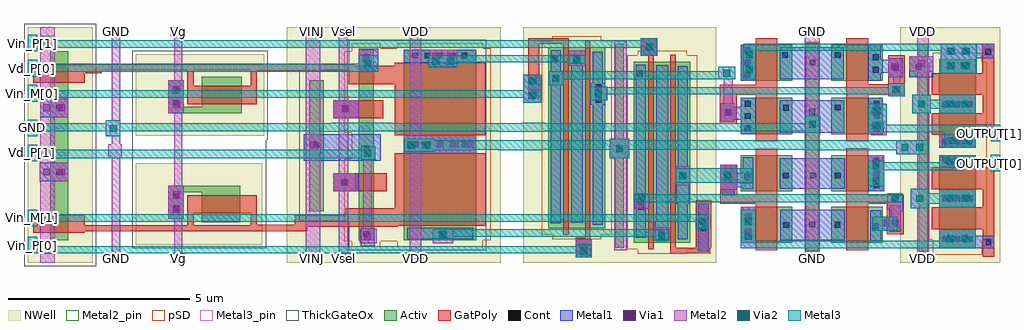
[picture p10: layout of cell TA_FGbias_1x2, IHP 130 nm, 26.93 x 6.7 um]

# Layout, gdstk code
import gdstk
lib = gdstk.Library(unit=1e-6, precision=1e-09)
def R(c, l, rs):  # rectangles x0, y0, x1, y1
    for r in rs: c.add(gdstk.rectangle(r[:2], r[2:], *l))
def A(c, l, x, y, w, h, nx, ny, dx, dy):  # array of equal rectangles
    R(c, l, [(x+i*dx, y+j*dy, x+i*dx+w, y+j*dy+h) for i in range(nx) for j in range(ny)])
Activ = (1, 0)
GatPoly = (5, 0)
Cont = (6, 0)
Metal1 = (8, 0)
Metal2 = (10, 0)
Metal2_pin = (10, 2)
pSD = (14, 0)
Via1 = (19, 0)
Via2 = (29, 0)
Metal3 = (30, 0)
Metal3_pin = (30, 2)
NWell = (31, 0)
ThickGateOx = (44, 0)

ta_fgbias_1x2 = lib.new_cell('TA_FGbias_1x2')
R(ta_fgbias_1x2, Activ, [(5.67,11.06,5.91,15.87), (2.55,11.08,2.91,16.82), (6.24,11.15,7.24,13.72), (-2.7,11.17,-2.47,13.64), (-2.2,11.3,-0.63,16.3), (0.76,11.3,2.18,12.3), (3.26,11.3,4.68,12.3), (-18.3,11.37,-17.8,16.58), (-9.79,11.37,-9.37,16.63), (-8.54,11.37,-6.54,16.63), (-4.55,11.7,-2.98,16.7), (-14.12,11.87,-13.06,12.69), (-15.04,11.97,-14.61,12.69), (-11.15,12.17,-10.75,15.78), (-15.04,12.69,-13.06,12.88), (0.76,12.72,2.18,13.72), (3.26,12.72,4.68,13.72), (-2.77,13.64,-2.41,14.17), (6.24,13.93,7.24,16.37), (-2.7,14.17,-2.47,16.79), (0.76,14.3,2.18,15.3), (3.26,14.3,4.68,15.3), (-15.04,14.87,-13.01,15.06), (-15.04,15.06,-14.61,15.78), (-14.12,15.06,-13.01,15.88), (0.76,15.77,2.18,16.77), (3.26,15.77,4.68,16.77), (5.4,15.87,5.91,16.45), (5.67,16.45,5.91,16.78)])
R(ta_fgbias_1x2, GatPoly, [(7.43,10.92,7.75,11.68), (-3.67,10.95,-3.39,10.96), (-3.79,10.96,-3.39,11.44), (-1.19,11.01,-0.08,11.17), (1.17,11.1,1.77,12.38), (3.67,11.1,4.27,12.38), (-1.79,11.12,-1.64,16.46), (-1.19,11.17,-1.04,16.49), (-0.48,11.17,-0.06,12.48), (-3.54,11.44,-3.39,16.88), (-4.14,11.52,-3.99,16.79), (4.78,11.54,5.26,12.38), (-18.77,11.58,-17.34,11.62), (-18.77,11.62,-11.2,11.75), (6.02,11.68,7.75,12.28), (-18.77,11.75,-8.69,11.77), (-18.77,11.77,-6.28,11.79), (-18.77,11.79,-17.34,12.08), (-14.51,11.79,-14.34,12.12), (-12.77,11.79,-6.28,11.8), (-12.77,11.8,-12.6,12.12), (-11.55,11.8,-6.28,12.06), (-10.14,12.06,-6.28,12.25), (-14.52,12.12,-12.6,12.62), (-8.79,12.25,-6.28,13.77), (7.43,12.28,7.75,12.78), (0.19,12.38,1.77,12.64), (3.67,12.38,5.26,12.63), (3.67,12.63,4.27,13.91), (0.19,12.64,0.66,13.46), (1.17,12.64,1.77,13.9), (-10.49,12.72,-9.01,13.22), (6.02,12.78,7.75,13.38), (1.17,14.1,1.77,15.38), (3.67,14.1,4.27,15.38), (-8.79,14.27,-6.29,15.68), (6.02,14.28,7.75,14.88), (0.18,14.58,0.64,15.38), (-10.49,14.74,-9.11,15.24), (7.43,14.88,7.75,15.38), (-14.52,15.13,-12.6,15.63), (-5.1,15.29,-4.8,16.79), (0.18,15.38,1.77,15.66), (3.67,15.38,5.28,15.67), (6.02,15.38,7.75,15.98), (-14.52,15.63,-14.33,16.06), (-12.77,15.63,-12.6,16.05), (1.17,15.66,1.77,16.95), (3.67,15.67,4.27,16.95), (4.82,15.67,5.28,16.47), (-10.06,15.68,-6.29,16.06), (-18.77,15.72,-17.34,15.98), (-18.77,15.98,-16.88,16.06), (7.42,15.98,7.75,16.8), (-12.77,16.05,-10.76,16.06), (-18.77,16.06,-6.29,16.18), (-18.77,16.18,-9.9,16.22), (-8.79,16.18,-6.29,16.27), (-17.38,16.22,-9.9,16.23), (-12.45,16.23,-10.76,16.24), (-2,16.46,-1.55,16.94), (-5.1,16.79,-3.99,16.94)])
A(ta_fgbias_1x2, Cont, 6.32, 11.325, 0.16, 0.16, 3, 2, 0.34, 1.125)
A(ta_fgbias_1x2, Cont, 4.42, 12.805, 0.16, 0.16, 1, 3, 0, 0.34)
A(ta_fgbias_1x2, Cont, 6.32, 13.49, 0.16, 0.16, 3, 2, 0.34, 0.52)
A(ta_fgbias_1x2, Cont, -8.295, 13.94, 0.16, 0.16, 5, 1, 0.34, 0)
A(ta_fgbias_1x2, Cont, 0.87, 14.38, 0.16, 0.16, 1, 3, 0, 0.34)
A(ta_fgbias_1x2, Cont, 4.42, 14.385, 0.16, 0.16, 1, 3, 0, 0.34)
A(ta_fgbias_1x2, Cont, 6.31, 15.045, 0.16, 0.16, 3, 1, 0.34, 0)
A(ta_fgbias_1x2, Cont, 0.87, 15.855, 0.16, 0.16, 1, 3, 0, 0.34)
A(ta_fgbias_1x2, Cont, -8.305, 16.39, 0.16, 0.16, 5, 1, 0.34, 0)
R(ta_fgbias_1x2, Cont, [(-3.67,11.11,-3.51,11.27), (7.51,11.24,7.67,11.4), (-9.66,11.455,-9.5,11.615), (-7.57,11.465,-7.41,11.625), (-1.515,11.5,-1.355,11.66), (0.87,11.515,1.03,11.675), (-0.35,11.615,-0.19,11.775), (4.41,11.68,4.57,11.84), (1.935,11.71,2.095,11.87), (3.345,11.72,3.505,11.88), (2.65,11.725,2.81,11.885), (4.94,11.76,5.1,11.92), (0.87,11.855,1.03,12.015), (-14.895,12.175,-14.735,12.335), (-2.07,12.215,-1.91,12.375), (-14.895,12.515,-14.735,12.675), (-10.255,12.895,-10.095,13.055), (0.335,13.03,0.495,13.19), (0.855,13.03,1.015,13.19), (1.915,13.08,2.075,13.24), (2.675,13.08,2.835,13.24), (3.355,13.08,3.515,13.24), (-18.13,13.175,-17.97,13.335), (-2.67,13.82,-2.51,13.98), (-9.645,13.825,-9.485,13.985), (-11.03,13.92,-10.87,14.08), (2.65,14.495,2.81,14.655), (0.335,14.825,0.495,14.985), (2.65,14.835,2.81,14.995), (-10.255,14.905,-10.095,15.065), (-18.13,14.945,-17.97,15.105), (1.925,14.945,2.085,15.105), (3.355,14.955,3.515,15.115), (-14.905,15.08,-14.745,15.24), (-3.245,15.17,-3.085,15.33), (-5.03,15.365,-4.87,15.525), (-14.905,15.42,-14.745,15.58), (-3.245,15.51,-3.085,15.67), (-5.03,15.705,-4.87,15.865), (-4.44,15.755,-4.28,15.915), (-2.105,15.885,-1.945,16.045), (4.405,16,4.565,16.16), (4.95,16.055,5.11,16.215), (5.58,16.08,5.74,16.24), (6.49,16.12,6.65,16.28), (6.83,16.12,6.99,16.28), (2.655,16.195,2.815,16.355), (-4.455,16.285,-4.295,16.445), (-3.845,16.315,-3.685,16.475), (4.405,16.34,4.565,16.5), (-9.655,16.35,-9.495,16.51), (1.895,16.405,2.055,16.565), (3.355,16.405,3.515,16.565), (7.505,16.49,7.665,16.65), (-1.855,16.625,-1.695,16.785)])
R(ta_fgbias_1x2, Metal1, [(-3.79,10.9,-3.35,11.4), (-0.42,11.07,-0.13,12.38), (6.24,11.15,7.75,11.49), (-9.73,11.21,-9.34,11.7), (0.76,11.3,1.17,12.3), (4.33,11.36,4.64,11.64), (1.84,11.37,3.63,12.21), (-1.61,11.38,-1.25,11.87), (-8.44,11.4,-6.62,11.72), (-0.98,11.4,-0.7,12.38), (-2.14,11.44,-1.86,16.21), (6.24,11.49,7.24,11.68), (4.85,11.61,5.17,11.64), (4.33,11.64,5.17,12.02), (-3.33,11.8,-3.05,15.11), (-4.49,11.84,-4.21,15.65), (-3.92,11.85,-3.6,16.19), (-1.57,11.87,-1.25,16.2), (-15.04,11.97,-14.61,12.88), (4.33,12.02,4.64,12.2), (4.85,12.02,5.17,12.34), (6.24,12.28,7.24,12.78), (-1.02,12.38,-0.66,12.89), (0.25,12.61,0.59,12.76), (-10.49,12.72,-9.79,13.22), (4.27,12.72,4.71,13.72), (0.19,12.76,0.63,12.84), (0.81,12.78,1.1,12.84), (1.83,12.79,3.63,13.63), (0.19,12.84,1.1,13.36), (-1.04,12.89,-0.63,13.42), (-18.58,13,-17.8,13.51), (0.19,13.36,0.63,13.46), (0.81,13.36,1.1,13.66), (6.24,13.38,7.24,13.72), (-0.98,13.42,-0.7,16.17), (-11.3,13.57,-9.18,14.29), (-2.86,13.64,-2.32,14.17), (-8.54,13.77,-6.54,14.27), (6.24,13.93,7.24,14.28), (0.76,14.3,1.17,14.69), (4.27,14.3,4.68,14.37), (1.83,14.34,3.61,15.24), (4.27,14.37,4.7,14.63), (4.27,14.63,4.68,15.3), (0.22,14.64,0.58,14.69), (0.22,14.69,1.17,15.05), (-10.49,14.74,-9.79,15.24), (-18.57,14.76,-17.8,15.27), (-15.04,14.87,-14.61,15.78), (6.24,14.88,7.24,15.38), (0.22,15.05,0.58,15.15), (0.76,15.05,1.17,15.3), (-3.39,15.11,-2.98,15.24), (-5.24,15.16,-4.75,15.94), (-3.39,15.24,-2.92,15.61), (-3.39,15.61,-2.98,15.71), (-4.54,15.65,-4.14,16.03), (-3.33,15.71,-3.05,16.57), (0.76,15.77,1.17,16.77), (4.27,15.77,4.62,15.99), (1.83,15.82,3.6,16.7), (4.82,15.87,5.22,15.99), (5.4,15.87,6.07,16.45), (6.28,15.98,7.27,16.4), (4.27,15.99,5.22,16.35), (-9.79,16.02,-9.25,16.66), (-4.49,16.03,-4.21,16.61), (-3.99,16.19,-3.54,16.6), (-7.7,16.26,-7.5,16.27), (-8.54,16.27,-6.54,16.63), (4.27,16.35,4.62,16.77), (4.82,16.35,5.22,16.4), (6.28,16.4,7.75,16.8), (-2,16.46,-1.55,16.94)])
R(ta_fgbias_1x2, Metal2, [(-18.57,10.75,-18.17,13), (-16.68,10.75,-16.28,11), (-14.97,10.75,-14.57,11), (-11.25,10.75,-10.85,13.77), (-10.41,10.75,-10.01,11), (-8.44,10.75,-8,11), (2.51,10.75,2.95,11), (5.56,10.75,6,11), (-3.79,10.9,-3.35,11.4), (-16.6,11,-16.37,13.69), (-14.88,11,-14.65,11.97), (-10.34,11,-10.08,12.72), (-8.37,11,-8.06,13.77), (2.52,11,2.94,14.28), (5.62,11,5.94,12.26), (-2.73,11.1,-2.39,13.64), (0.76,11.15,1.17,12.3), (6.24,11.15,7.24,11.68), (-9.76,11.29,-9.29,11.69), (-7.74,11.29,-7.17,11.67), (-1.62,11.36,-1.21,11.71), (4.39,11.64,5.08,11.71), (-7.68,11.67,-7.3,11.68), (-9.66,11.69,-9.42,13.59), (-0.48,11.69,-0.12,12.09), (-1.58,11.71,-1.25,11.73), (4.39,11.71,5.17,12.02), (-15.04,11.97,-14.61,12.88), (4.91,12.02,5.17,12.17), (4.91,12.17,5.23,12.23), (4.8,12.23,5.23,12.67), (-2.18,12.24,-1.77,12.65), (5.45,12.26,5.94,12.79), (6.24,12.28,7.24,12.78), (-10.49,12.72,-9.87,13.22), (0.19,12.76,0.66,12.95), (5.62,12.79,5.94,13.74), (4.27,12.86,4.71,13.72), (-14.88,12.88,-14.65,14.87), (-1.04,12.89,-0.63,13.42), (0.19,12.95,1.07,13.24), (-18.58,13,-17.8,13.51), (-10.34,13.22,-10.08,14.74), (0.19,13.24,0.66,13.46), (6.24,13.38,7.24,13.68), (-18.57,13.51,-18.17,14.76), (-9.72,13.59,-9.33,13.96), (-2.86,13.64,-2.32,14.17), (-16.69,13.69,-16.32,14.02), (5.05,13.74,5.95,14.13), (-11.25,13.77,-10.83,14.18), (-8.54,13.77,-6.54,14.27), (6.24,13.96,7.24,14.28), (-16.6,14.02,-16.37,14.25), (5.62,14.13,5.94,14.88), (-2.73,14.17,-2.39,16.87), (-11.25,14.18,-10.85,17.25), (-16.77,14.25,-16.36,14.68), (-8.37,14.27,-8.06,17), (4.34,14.27,4.78,14.3), (2.52,14.28,2.95,14.67), (4.27,14.3,4.78,15.14), (0.22,14.64,0.58,15.15), (2.52,14.67,2.94,17), (-16.6,14.68,-16.37,17), (-10.49,14.74,-9.79,15.24), (-18.57,14.76,-17.8,15.27), (-15.04,14.87,-14.61,15.78), (5.49,14.88,6,15.38), (6.24,14.88,7.24,15.38), (0.29,15.15,0.53,15.81), (-5.24,15.16,-4.75,15.94), (-10.34,15.24,-10.08,15.32), (-3.39,15.24,-2.94,15.61), (-18.57,15.27,-18.17,17.25), (-10.34,15.32,-10.09,17), (4.82,15.35,5.28,15.71), (5.62,15.38,5.94,15.81), (-4.54,15.65,-4.14,16.03), (4.96,15.71,5.16,15.92), (-14.88,15.78,-14.65,17), (0.13,15.81,0.61,16.16), (5.63,15.81,5.94,16.03), (0.82,15.82,1.17,16.8), (4.82,15.92,5.19,16.4), (6.28,15.98,7.27,16.8), (-9.79,16.02,-9.25,16.66), (5.4,16.03,6.07,16.45), (-7.85,16.15,-7.06,16.63), (-3.99,16.19,-3.54,16.6), (5.63,16.45,5.94,17), (-2,16.46,-1.55,16.94), (-16.68,17,-16.28,17.25), (-14.97,17,-14.57,17.25), (-10.41,17,-10.01,17.25), (-8.44,17,-8,17.25), (2.51,17,2.95,17.25), (5.56,17,6,17.25)])
R(ta_fgbias_1x2, Metal2_pin, [(-18.57,10.75,-18.17,11.01), (-16.68,10.75,-16.28,11), (-14.97,10.75,-14.57,11), (-11.25,10.75,-10.85,11), (-10.41,10.75,-10.01,11), (-8.44,10.75,-8,11), (2.51,10.75,2.95,11), (5.56,10.75,6,11), (-18.57,17,-18.17,17.25), (-16.68,17,-16.28,17.25), (-14.97,17,-14.57,17.25), (-11.25,17,-10.85,17.25), (-10.41,17,-10.01,17.25), (-8.44,17,-8,17.25), (2.51,17,2.95,17.25), (5.56,17,6,17.25)])
R(ta_fgbias_1x2, pSD, [(6.06,10.97,7.42,11.38), (-2.09,11,-0.74,11.12), (2.52,11.05,2.94,16.85), (-2.38,11.12,-0.45,16.48), (-9.97,11.19,-9.19,11.35), (-8.72,11.19,-6.36,11.35), (-10.19,11.35,-6.36,11.37), (-10.19,11.37,-6.14,13.62), (5.94,11.38,7.54,16.28), (-4.44,11.4,-3.09,11.52), (-4.73,11.52,-2.8,16.88), (-9.97,13.62,-6.14,14.34), (-10.19,14.34,-6.14,16.58), (6.06,16.28,7.42,16.55), (-2.09,16.48,-0.74,16.6), (-9.97,16.58,-6.14,16.67), (-9.97,16.67,-9.19,16.81), (-8.72,16.67,-6.36,16.81), (-4.44,16.88,-3.09,17)])
A(ta_fgbias_1x2, Via1, -8.45, 13.92, 0.19, 0.19, 5, 1, 0.41, 0)
R(ta_fgbias_1x2, Via1, [(-3.67,11.06,-3.48,11.25), (6.44,11.315,6.63,11.505), (6.85,11.315,7.04,11.505), (-9.635,11.39,-9.445,11.58), (-7.56,11.425,-7.37,11.615), (-1.525,11.46,-1.335,11.65), (0.87,11.5,1.06,11.69), (4.66,11.755,4.85,11.945), (-0.375,11.795,-0.185,11.985), (0.87,11.91,1.06,12.1), (-14.915,12.125,-14.725,12.315), (-2.095,12.35,-1.905,12.54), (6.44,12.44,6.63,12.63), (6.85,12.44,7.04,12.63), (-14.915,12.535,-14.725,12.725), (-10.275,12.88,-10.085,13.07), (4.395,12.995,4.585,13.185), (0.31,13.015,0.5,13.205), (-0.935,13.06,-0.745,13.25), (-18.49,13.16,-18.3,13.35), (-18.08,13.16,-17.89,13.35), (4.395,13.405,4.585,13.595), (6.44,13.445,6.63,13.635), (6.85,13.445,7.04,13.635), (-2.685,13.8,-2.495,13.99), (-11.12,13.91,-10.93,14.1), (6.44,14.02,6.63,14.21), (6.85,14.02,7.04,14.21), (4.375,14.425,4.565,14.615), (2.64,14.48,2.83,14.67), (0.32,14.81,0.51,15), (4.375,14.835,4.565,15.025), (-10.235,14.905,-10.045,15.095), (-18.49,14.93,-18.3,15.12), (-18.08,14.93,-17.89,15.12), (-14.915,15.03,-14.725,15.22), (6.44,15.035,6.63,15.225), (6.85,15.035,7.04,15.225), (-5.09,15.26,-4.9,15.45), (-3.265,15.325,-3.075,15.515), (-14.915,15.44,-14.725,15.63), (-5.09,15.67,-4.9,15.86), (-4.435,15.745,-4.245,15.935), (0.9,15.99,1.09,16.18), (4.915,16.07,5.105,16.26), (6.47,16.085,6.66,16.275), (6.88,16.085,7.07,16.275), (5.64,16.145,5.83,16.335), (-3.86,16.295,-3.67,16.485), (-9.67,16.31,-9.48,16.5), (-7.755,16.355,-7.565,16.545), (-7.345,16.355,-7.155,16.545), (0.9,16.4,1.09,16.59), (6.47,16.495,6.66,16.685), (6.88,16.495,7.07,16.685), (-1.865,16.615,-1.675,16.805)])
R(ta_fgbias_1x2, Via2, [(-3.665,10.985,-3.475,11.175), (6.44,11.32,6.63,11.51), (6.85,11.32,7.04,11.51), (0.87,11.38,1.06,11.57), (-1.51,11.42,-1.32,11.61), (-7.55,11.45,-7.36,11.64), (0.87,11.79,1.06,11.98), (-0.395,11.795,-0.205,11.985), (5.605,12.43,5.795,12.62), (-2.07,12.435,-1.88,12.625), (6.445,12.435,6.635,12.625), (6.855,12.435,7.045,12.625), (4.92,12.44,5.11,12.63), (4.395,12.915,4.585,13.105), (-0.935,13.06,-0.745,13.25), (0.305,13.065,0.495,13.255), (4.395,13.325,4.585,13.515), (6.44,13.435,6.63,13.625), (6.85,13.435,7.04,13.625), (-9.625,13.68,-9.435,13.87), (-2.685,13.81,-2.495,14), (5.195,13.84,5.385,14.03), (5.605,13.84,5.795,14.03), (-8.43,13.895,-8.24,14.085), (-8.02,13.895,-7.83,14.085), (6.505,14.025,6.695,14.215), (6.915,14.025,7.105,14.215), (-16.65,14.36,-16.46,14.55), (4.43,14.445,4.62,14.635), (2.64,14.48,2.83,14.67), (4.43,14.855,4.62,15.045), (5.65,15.035,5.84,15.225), (6.44,15.035,6.63,15.225), (6.85,15.035,7.04,15.225), (-5.09,15.26,-4.9,15.45), (-3.27,15.33,-3.08,15.52), (4.955,15.435,5.145,15.625), (-5.09,15.67,-4.9,15.86), (-4.435,15.745,-4.245,15.935), (0.275,15.89,0.465,16.08), (0.9,16,1.09,16.19), (6.455,16.09,6.645,16.28), (6.865,16.09,7.055,16.28), (-9.63,16.155,-9.44,16.345), (-7.755,16.22,-7.565,16.41), (-7.345,16.22,-7.155,16.41), (-3.865,16.265,-3.675,16.455), (0.9,16.41,1.09,16.6), (6.455,16.5,6.645,16.69), (6.865,16.5,7.055,16.69), (-1.865,16.615,-1.675,16.805)])
R(ta_fgbias_1x2, Metal3, [(-3.79,10.9,-3.35,11.01), (-18.92,11.01,-3.35,11.21), (0.76,11.15,7.24,11.36), (-18.92,11.21,-18.66,11.47), (-3.79,11.21,-3.35,11.26), (-1.62,11.36,-1.21,11.47), (0.76,11.36,1.17,12.21), (6.24,11.36,7.24,11.68), (-7.74,11.42,-7.17,11.47), (-7.74,11.47,-1.21,11.67), (4.39,11.64,5.08,12.02), (-0.48,11.69,-0.12,11.88), (-18.92,11.76,-18.66,11.88), (-18.92,11.88,-0.12,12.09), (-18.92,12.09,-18.66,12.22), (5.45,12.26,5.94,12.38), (6.24,12.28,7.24,12.38), (5.45,12.38,7.24,12.67), (-2.2,12.42,5.23,12.64), (5.45,12.67,5.94,12.79), (6.24,12.67,7.24,12.78), (4.27,12.86,4.71,13.31), (-1.04,12.96,1.07,13.36), (7.65,13.27,7.91,13.43), (4.27,13.31,6.89,13.38), (4.27,13.38,7.24,13.43), (4.27,13.43,7.91,13.53), (4.27,13.53,4.71,13.57), (6.24,13.53,7.91,13.65), (-18.92,13.55,-18.66,13.64), (-9.72,13.59,-9.33,13.64), (-18.92,13.64,-9.33,13.87), (-2.86,13.64,-2.32,13.87), (6.24,13.65,7.24,13.68), (7.65,13.65,7.91,13.73), (5.05,13.74,5.95,13.86), (-8.54,13.81,-7.71,13.86), (-5.32,13.85,-4.69,13.86), (-8.54,13.86,-6.66,13.87), (-5.94,13.86,-4.69,13.87), (2.48,13.86,5.95,13.87), (-18.92,13.87,-18.66,14.01), (-9.72,13.87,-9.33,13.96), (-8.54,13.87,5.95,14.13), (6.37,13.96,7.24,14.22), (7.65,14.1,7.91,14.22), (-8.54,14.13,-7.71,14.17), (-2.86,14.13,-2.32,14.17), (6.37,14.22,7.91,14.35), (-18.92,14.24,-18.66,14.38), (-16.77,14.24,-16.36,14.38), (2.52,14.34,2.95,14.38), (4.27,14.35,7.91,14.56), (-5.28,14.36,-4.64,14.37), (-10.73,14.37,-10.34,14.38), (-5.94,14.37,-4.64,14.38), (-18.92,14.38,2.95,14.6), (4.27,14.56,4.78,15.14), (-18.92,14.6,-18.66,14.7), (-16.77,14.6,-16.36,14.68), (-10.56,14.6,-8.84,14.61), (-5.28,14.6,-4.64,14.61), (2.52,14.6,2.95,14.81), (5.49,14.88,6,15), (6.24,14.88,7.24,15), (5.49,15,7.24,15.25), (-5.24,15.16,-4.75,15.31), (-18.92,15.2,-18.66,15.31), (-3.39,15.24,-2.92,15.4), (5.49,15.25,6,15.38), (6.24,15.25,7.24,15.38), (-18.92,15.31,-4.75,15.51), (4.82,15.35,5.28,15.4), (-3.39,15.4,5.28,15.6), (-18.92,15.51,-18.66,15.66), (-5.24,15.51,-4.75,15.94), (-3.39,15.6,-2.92,15.61), (4.82,15.6,5.28,15.71), (-4.54,15.65,-4.14,15.82), (0.13,15.81,0.61,15.82), (-4.54,15.82,0.61,16.03), (0.82,15.82,1.17,16.6), (-18.92,15.89,-18.66,16.02), (6.28,15.98,7.27,16.6), (-18.92,16.02,-9.25,16.24), (0.13,16.03,0.61,16.16), (-7.85,16.15,-7.06,16.28), (-18.92,16.24,-18.66,16.35), (-9.79,16.24,-9.25,16.48), (-3.99,16.24,-3.54,16.28), (-7.85,16.28,-3.54,16.48), (-2,16.46,-1.55,16.69), (-18.92,16.58,-18.66,16.69), (0.82,16.6,7.27,16.8), (-18.92,16.69,-1.55,16.89), (-18.92,16.89,-18.66,17.04), (-2,16.89,-1.55,16.94)])
A(ta_fgbias_1x2, Metal3_pin, -18.92, 15.2, 0.26, 0.46, 1, 3, 0, 0.69)
R(ta_fgbias_1x2, Metal3_pin, [(-18.92,11.01,-18.66,11.47), (-18.92,11.76,-18.66,12.22), (7.65,13.27,7.91,13.73), (-18.92,13.55,-18.66,14.01), (7.65,14.1,7.91,14.56), (-18.92,14.24,-18.66,14.7)])
R(ta_fgbias_1x2, NWell, [(-18.92,10.75,-17.12,17.25), (-11.77,10.75,-5.86,17.25), (-5.24,10.75,0.08,17.25), (5.16,10.75,7.91,17.25), (-15.93,11.25,-12.44,13.5), (-15.93,14.25,-12.39,16.5)])
R(ta_fgbias_1x2, ThickGateOx, [(-19.02,10.65,-17.02,17.35), (-10.06,11.1,-6.27,11.9), (-16.03,11.15,-12.34,14.15), (-11.42,11.9,-6.27,16.05), (-16.03,14.15,-12.29,16.6), (-10.06,16.05,-6.27,16.9)])
ta_fgbias_1x2.add(gdstk.Label('Vin_P[1]', (-18.79,16.81), layer=30, texttype=25))
ta_fgbias_1x2.add(gdstk.Label('Vd_P[0]', (-18.79,16.12), layer=30, texttype=25))
ta_fgbias_1x2.add(gdstk.Label('Vin_M[0]', (-18.79,15.43), layer=30, texttype=25))
ta_fgbias_1x2.add(gdstk.Label('GND', (-18.79,14.47), layer=30, texttype=25))
ta_fgbias_1x2.add(gdstk.Label('Vd_P[1]', (-18.79,13.78), layer=30, texttype=25))
ta_fgbias_1x2.add(gdstk.Label('Vin_M[1]', (-18.79,11.99), layer=30, texttype=25))
ta_fgbias_1x2.add(gdstk.Label('Vin_P[0]', (-18.79,11.24), layer=30, texttype=25))
ta_fgbias_1x2.add(gdstk.Label('OUTPUT[0]', (7.78,13.5), layer=30, texttype=25))
ta_fgbias_1x2.add(gdstk.Label('OUTPUT[1]', (7.78,14.33), layer=30, texttype=25))
ta_fgbias_1x2.add(gdstk.Label('GND', (-16.48,17.125), layer=10, texttype=25))
ta_fgbias_1x2.add(gdstk.Label('GND', (2.73,17.125), layer=10, texttype=25))
ta_fgbias_1x2.add(gdstk.Label('GND', (2.73,10.875), layer=10, texttype=25))
ta_fgbias_1x2.add(gdstk.Label('GND', (-16.48,10.875), layer=10, texttype=25))
ta_fgbias_1x2.add(gdstk.Label('VTUN', (-18.37,17.125), layer=10, texttype=25))
ta_fgbias_1x2.add(gdstk.Label('VTUN', (-18.37,10.88), layer=10, texttype=25))
ta_fgbias_1x2.add(gdstk.Label('Vg', (-14.77,17.125), layer=10, texttype=25))
ta_fgbias_1x2.add(gdstk.Label('Vg', (-14.77,10.875), layer=10, texttype=25))
ta_fgbias_1x2.add(gdstk.Label('VINJ', (-11.05,17.125), layer=10, texttype=25))
ta_fgbias_1x2.add(gdstk.Label('VINJ', (-11.05,10.875), layer=10, texttype=25))
ta_fgbias_1x2.add(gdstk.Label('Vsel', (-10.21,17.125), layer=10, texttype=25))
ta_fgbias_1x2.add(gdstk.Label('Vsel', (-10.21,10.875), layer=10, texttype=25))
ta_fgbias_1x2.add(gdstk.Label('VDD', (-8.22,17.125), layer=10, texttype=25))
ta_fgbias_1x2.add(gdstk.Label('VDD', (5.78,17.125), layer=10, texttype=25))
ta_fgbias_1x2.add(gdstk.Label('VDD', (5.78,10.875), layer=10, texttype=25))
ta_fgbias_1x2.add(gdstk.Label('VDD', (-8.22,10.875), layer=10, texttype=25))

lib.write_gds('TA_FGbias_1x2.gds')
